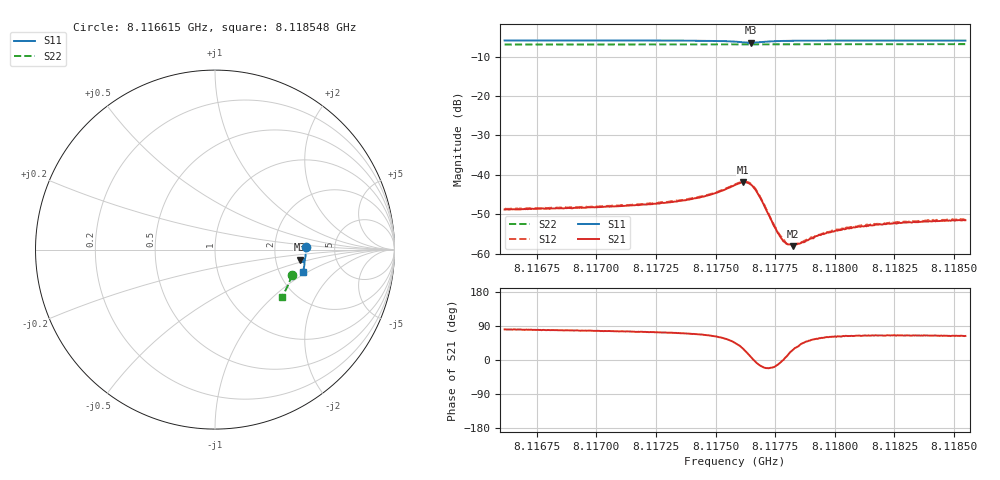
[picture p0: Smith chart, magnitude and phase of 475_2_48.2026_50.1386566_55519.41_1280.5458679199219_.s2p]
#  HZ  S  RI  R  50.00
! Rohde & Schwarz Vector Network Analyzer
! Rohde-Schwarz,ZNB20-2Port,1311601062101988,3.16
! Created: UTC 3/20/2024, 11:57:19 AM
! freq[Hz]  re:S11  im:S11  re:S21  im:S21  re:S12  im:S12  re:S22  im:S22
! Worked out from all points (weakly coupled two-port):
!   401 points, 8.116615 GHz to 8.118548 GHz, reference 50 ohm
!   highest |S21| = -41.88 dB at 8.117615 GHz (marker M1); lowest = -58.1 dB at 8.117823 GHz (marker M2)
!   lowest |S11| = -6.5 dB at 8.117649 GHz (marker M3), VSWR 2.81, Z = 137 - j19.8 ohm
!   |S11| at or under -10 dB: nowhere
!   |S22| runs from -6.9 to -6.8 dB; largest |S21 - S12| = 0.00021
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8.1166152e9  0.5071 0.0132  0.000589 0.00358  0.00063 0.00363  0.4272 -0.1428
8.1169389e9  0.5065 -0.0116  0.000814 0.00372  0.000871 0.00382  0.4202 -0.1643
8.1172626e9  0.5041 -0.0379  0.00127 0.00412  0.00136 0.00425  0.4123 -0.1855
8.1173592e9  0.5028 -0.0465  0.00157 0.00443  0.00165 0.00451  0.4096 -0.1917
8.1174414e9  0.5004 -0.0546  0.00203 0.00484  0.00213 0.00489  0.4073 -0.1971
8.1175139e9  0.4959 -0.0628  0.00299 0.00527  0.00307 0.0054  0.4051 -0.202
8.1175815e9  0.4853 -0.0694  0.00523 0.0053  0.00536 0.00534  0.4027 -0.2061
8.1176153e9  0.4759 -0.0672  0.00699 0.00401  0.00714 0.00405  0.4014 -0.2078
8.1176346e9  0.4719 -0.0615  0.00757 0.0024  0.00774 0.00237  0.4007 -0.2088
8.1176491e9  0.4715 -0.056  0.00743 0.000925  0.00759 0.000944  0.4002 -0.2094
8.1176636e9  0.4738 -0.0509  0.00671 -0.000285  0.00686 -0.000367  0.3999 -0.2099
8.117683e9  0.4795 -0.047  0.00529 -0.00122  0.00539 -0.0013  0.3998 -0.2112
8.1177506e9  0.4945 -0.0524  0.00202 -0.000613  0.00208 -0.000651  0.3984 -0.2156
8.1177748e9  0.4965 -0.0561  0.00158 -0.00014  0.00165 -0.000169  0.3976 -0.2171
8.1177989e9  0.4977 -0.0594  0.00131 0.000229  0.0013 0.000248  0.3971 -0.2187
8.1178231e9  0.4986 -0.0626  0.00112 0.000536  0.00119 0.000563  0.3963 -0.2203
8.1178617e9  0.499 -0.067  0.00102 0.000955  0.00105 0.000919  0.3952 -0.2228
8.1179052e9  0.4991 -0.0717  0.000934 0.00127  0.000954 0.00126  0.3938 -0.2256
8.1179583e9  0.4989 -0.0769  0.00091 0.00155  0.000924 0.00156  0.392 -0.229
8.118055e9  0.4979 -0.0853  0.000955 0.00189  0.000984 0.00191  0.3888 -0.235
8.1182289e9  0.4955 -0.0995  0.00102 0.00217  0.00109 0.00222  0.3827 -0.2456
8.1185478e9  0.49 -0.1236  0.00119 0.00238  0.00125 0.00243  0.3707 -0.2648
